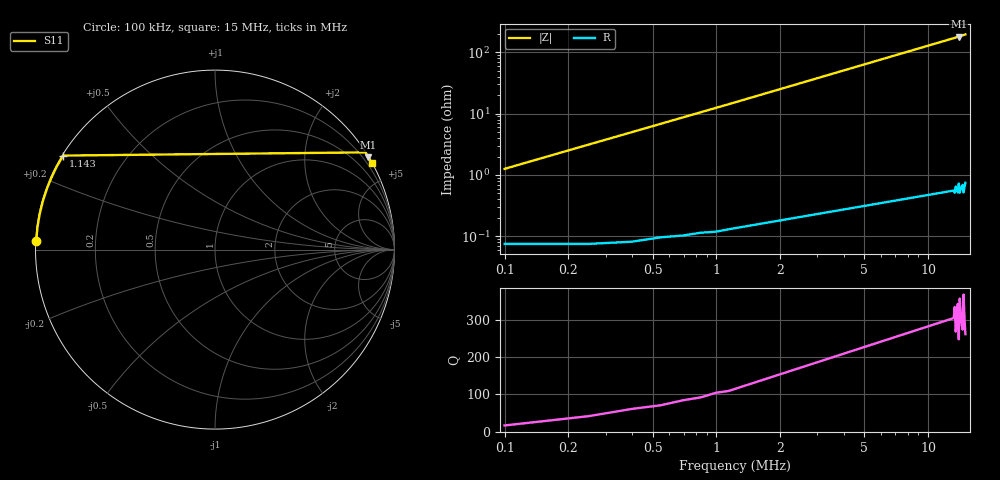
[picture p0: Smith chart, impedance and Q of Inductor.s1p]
# MHz S MA R 50.0
!freq magS11 angS11
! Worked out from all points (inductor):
!   21 points, 100 kHz to 15 MHz, reference 50 ohm
!   read as one part to ground: L = 2 uH near 100 kHz
!   highest Q = 342 at 13.96 MHz (marker M1), where L = 2.05 uH
!   S11 on the Smith chart (normalised r, x): 100 kHz: 0.00, +0.03; 1.143 MHz: 0.00, +0.28; 15 MHz: 0.01, +3.89
0.1  0.997 177.1
0.249  0.997 172.8
0.398  0.9968 168.6
0.547  0.9962 164.4
0.696  0.996 160.3
0.845  0.9956 156.2
0.994  0.9955 152.2
1.143  0.9952 148.2
13.212  0.9982 32.9
13.361  0.9984 32.5
13.51  0.998 32.1
13.659  0.9983 31.8
13.808  0.9985 31.4
13.957  0.9979 31.1
14.106  0.9986 30.7
14.255  0.9984 30.4
14.404  0.9983 30.0
14.553  0.9982 29.7
14.702  0.9987 29.4
14.851  0.9984 29.1
15  0.9982 28.8
